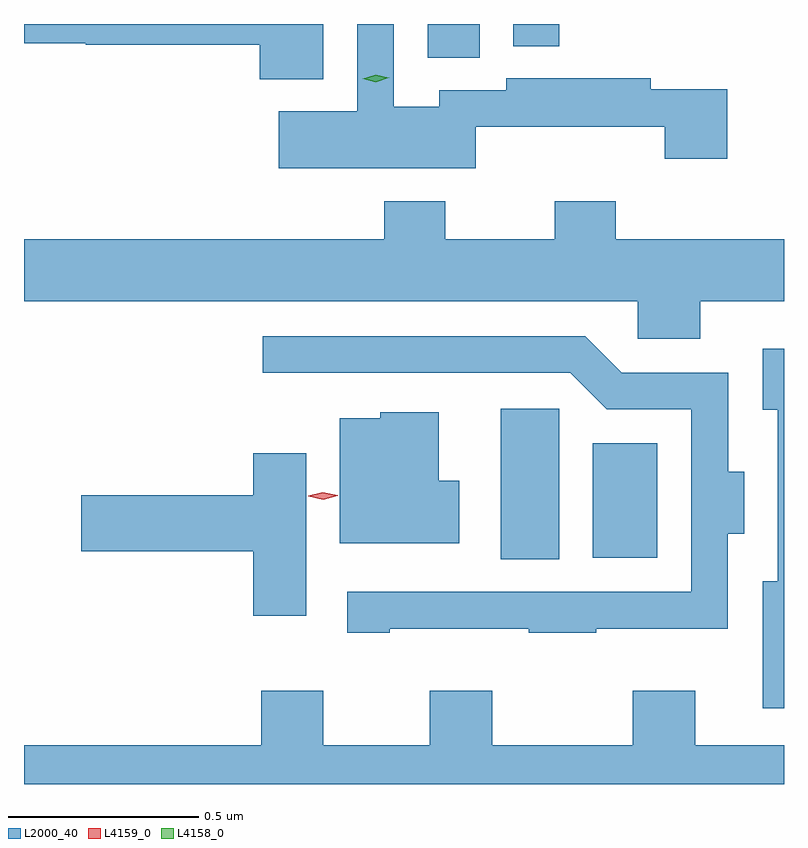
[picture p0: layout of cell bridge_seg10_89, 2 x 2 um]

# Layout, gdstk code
import gdstk
lib = gdstk.Library(unit=1e-6, precision=1e-09)
def R(c, l, rs):  # rectangles x0, y0, x1, y1
    for r in rs: c.add(gdstk.rectangle(r[:2], r[2:], *l))
def P(c, l, *ps):  # polygons
    for p in ps: c.add(gdstk.Polygon(p, *l))
L2000_40 = (2000, 40)
L4158_0 = (4158, 0)
L4159_0 = (4159, 0)

bridge_seg10_89 = lib.new_cell('bridge_seg10_89')
R(bridge_seg10_89, L2000_40, [(650.177,1284.985,650.332,1285.381), (650.42,1284.989,650.59,1285.291), (649.985,1286.305,650.122,1286.394), (650.21,1286.336,650.332,1286.394)])
P(bridge_seg10_89, L2000_40, [(649.711,1286.394),(648.923,1286.394),(648.923,1286.344),(649.086,1286.344),(649.086,1286.339),(649.544,1286.339),(649.544,1286.249),(649.711,1286.249)],
  [(650.112,1286.123),(650.609,1286.123),(650.609,1286.04),(650.774,1286.04),(650.774,1286.222),(650.572,1286.222),(650.572,1286.251),(650.192,1286.251),(650.192,1286.22),(650.016,1286.22),(650.016,1286.176),(649.896,1286.176),(649.896,1286.394),(649.8,1286.394),(649.8,1286.164),(649.593,1286.164),(649.593,1286.015),(650.112,1286.015)],
  [(650.48,1285.927),(650.32,1285.927),(650.32,1285.828),(650.031,1285.828),(650.031,1285.927),(649.871,1285.927),(649.871,1285.828),(648.923,1285.828),(648.923,1285.664),(650.538,1285.664),(650.538,1285.566),(650.702,1285.566),(650.702,1285.664),(650.923,1285.664),(650.923,1285.828),(650.48,1285.828)],
  [(649.885,1284.803),(650.251,1284.803),(650.251,1284.792),(650.429,1284.792),(650.429,1284.803),(650.775,1284.803),(650.775,1285.052),(650.818,1285.052),(650.818,1285.216),(650.776,1285.216),(650.776,1285.476),(650.496,1285.476),(650.4,1285.572),(649.551,1285.572),(649.551,1285.476),(650.361,1285.476),(650.457,1285.38),(650.679,1285.38),(650.679,1284.9),(649.773,1284.9),(649.773,1284.792),(649.885,1284.792)],
  [(650.923,1285.54),(650.867,1285.54),(650.867,1285.379),(650.907,1285.379),(650.907,1284.928),(650.867,1284.928),(650.867,1284.594),(650.923,1284.594)],
  [(650.068,1285.192),(650.014,1285.192),(650.014,1285.372),(649.86,1285.372),(649.86,1285.357),(649.754,1285.357),(649.754,1285.028),(650.068,1285.028)],
  [(649.666,1285.264),(649.526,1285.264),(649.526,1285.154),(649.074,1285.154),(649.074,1285.007),(649.526,1285.007),(649.526,1284.837),(649.666,1284.837)],
  [(650.923,1284.496),(650.689,1284.496),(650.689,1284.64),(650.525,1284.64),(650.525,1284.496),(650.155,1284.496),(650.155,1284.64),(649.991,1284.64),(649.991,1284.496),(649.711,1284.496),(649.711,1284.64),(649.547,1284.64),(649.547,1284.496),(648.923,1284.496),(648.923,1284.394),(650.923,1284.394)])
P(bridge_seg10_89, L4158_0, [(649.849,1286.241),(649.814,1286.25),(649.814,1286.25),(649.814,1286.25),(649.848,1286.261),(649.883,1286.253),(649.884,1286.253),(649.883,1286.252)])
P(bridge_seg10_89, L4159_0, [(649.71,1285.142),(649.671,1285.151),(649.671,1285.152),(649.671,1285.152),(649.709,1285.162),(649.748,1285.154),(649.748,1285.154),(649.748,1285.153)])

lib.write_gds('bridge_seg10_89.gds')
